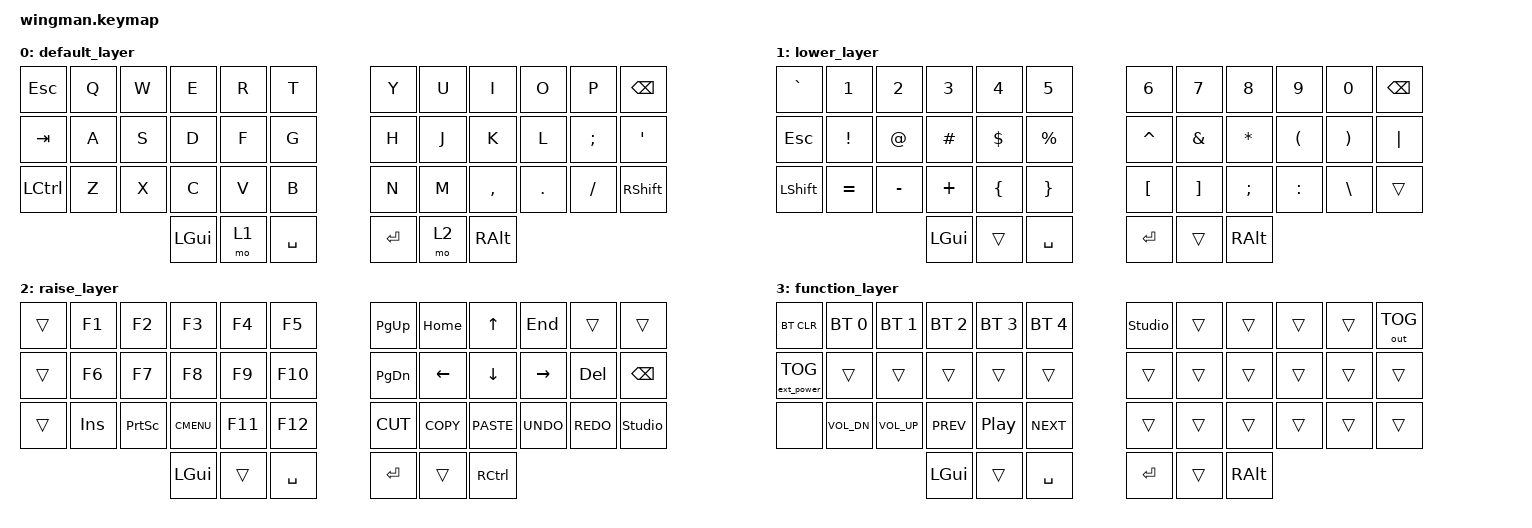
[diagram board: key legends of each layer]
/*
 * Copyright (c) 2020 The ZMK Contributors
 *
 * SPDX-License-Identifier: MIT
 */

#include <behaviors.dtsi>
#include <dt-bindings/zmk/keys.h>
#include <dt-bindings/zmk/bt.h>	
#include <dt-bindings/zmk/outputs.h>
#include <dt-bindings/zmk/ext_power.h>

#define BASE 0
#define LOWER 1
#define RAISE 2
#define ADJUST 3

/ {
        conditional_layers {
            compatible = "zmk,conditional-layers";
            adjust_layer {
                if-layers = <LOWER RAISE>;
                then-layer = <ADJUST>;
            };
        };

        keymap {
                compatible = "zmk,keymap";
	
                default_layer {
                            // -----------------------------------------------------------------------------------------
                            // | ESC  |  Q  |  W  |  E  |  R  |  T  |               |  Y  |  U  |  I  |  O  |  P  | BKSP |
                            // | TAB  |  A  |  S  |  D  |  F  |  G  |               |  H  |  J  |  K  |  L  |  ;  |  '   |
                            // | CTRL |  Z  |  X  |  C  |  V  |  B  |               |  N  |  M  |  ,  |  .  |  /  | ESC  |
                            //                          | GUI | LWR | SPC |   | ENT | RSE | ALT |
                        bindings = <
                            &kp ESC   &kp Q &kp W &kp E     &kp R &kp T       &kp Y   &kp U &kp I     &kp O   &kp P    &kp BSPC
                            &kp TAB   &kp A &kp S &kp D     &kp F &kp G       &kp H   &kp J &kp K     &kp L   &kp SEMI &kp SQT
                            &kp LCTRL &kp Z &kp X &kp C     &kp V &kp B       &kp N   &kp M &kp COMMA &kp DOT &kp FSLH &kp RSHIFT
                                                  &kp LGUI  &mo 1 &kp SPACE   &kp RET &mo 2 &kp RALT
                        >;
                };

                lower_layer{
                        // -----------------------------------------------------------------------------------------
                        // |  `   |  1  |  2  |  3  |  4  |  5  |           |  6  |  7  |  8  |  9  |  0  | BKSP |
                        // | TAB  |  !  |  @  |  #  |  $  |  %  |           |  ^  |  &  |  *  |  (  |  )  |   |  |
                        // | CTRL |  =  |  -  |  +  |  {  |  }  |           |  [  |  ]  |  ;  |  :  |  \  |      |
                        //                    |     |     |     |     |     |     |     |
                        bindings = <
                            &kp GRAVE &kp N1    &kp N2    &kp N3   &kp N4   &kp N5                            &kp N6    &kp N7   &kp N8    &kp N9    &kp N0   &kp BSPC
                            &kp ESC   &kp EXCL  &kp AT    &kp HASH &kp DLLR &kp PRCNT                         &kp CARET &kp AMPS &kp ASTRK &kp LPAR  &kp RPAR &kp PIPE
                            &kp LSHFT &kp EQUAL &kp MINUS &kp PLUS &kp LBRC &kp RBRC                          &kp LBKT  &kp RBKT &kp SEMI  &kp COLON &kp BSLH &trans
                                                                   &kp LGUI &trans    &kp SPACE       &kp RET &trans    &kp RALT
                        >;

                };

                raise_layer {
                            // ---------------------------------------------------------------------------------------------------------------------------
                            // |      |   F1   |   F2   |   F3  |   F4    |   F5    |                   |  PGUP  |  HOM  |   ↑   |  END  |       |       |
                            // |      |   F6   |   F7   |  F8   |   F9    |   F10   |                   |  PGDN  |   ←   |   ↓   |   →   |  DEL  | BCSP  |
                            // |      |  INS   |  PSCR  |  GUI  |   F11   |   F12   |                   |   CUT  |  COPY | PASTE |  UNDO |  REDO |       |               
                            //                                  |         |         |       |   |       |   RSE  |  CTRL |
                            //
                        bindings = <
                            &trans     &kp F1     &kp F2    &kp F3      &kp F4   &kp F5                            &kp PG_UP &kp HOME   &kp UP      &kp END    &trans     &trans
                            &trans     &kp F6     &kp F7    &kp F8      &kp F9   &kp F10                           &kp PG_DN &kp LEFT   &kp DOWN    &kp RIGHT  &kp DEL    &kp BSPC    
                            &trans     &kp INS    &kp PSCRN &kp K_CMENU &kp F11  &kp F12                           &kp K_CUT &kp K_COPY &kp K_PASTE &kp K_UNDO &kp K_REDO &studio_unlock                     
                                                                        &kp LGUI &trans  &kp SPACE         &kp RET &trans    &kp RCTRL
                        >;
                };

                function_layer {
                        // -----------------------------------------------------------------------------------------
                        // | BTCLR  | BT1 | BT2 | BT3 | BT4 | BT5 |   | ZMK |     |     |     |     |      |
                        // | EXTPWR |     |     |     |     |     |   |     |     |     |     |     |      |
                        // |        |  V- |  V+ | Prev| Pau | Next|   |     |     |     |     |     |      |
                        //                      | GUI |     | SPC |   | ENT |     | ALT |
                        bindings = <
                            &bt BT_CLR        &bt BT_SEL 0 &bt BT_SEL 1 &bt BT_SEL 2 &bt BT_SEL 3 &bt BT_SEL 4                            &studio_unlock &trans &trans &trans &trans &out OUT_TOG
                            &ext_power EP_TOG &trans       &trans       &trans       &trans       &trans                                  &trans &trans &trans &trans &trans &trans
                            &none             &kp C_VOL_DN &kp C_VOL_UP &kp C_PREV   &kp C_PP     &kp C_NEXT                              &trans &trans &trans &trans &trans &trans
                                                                                     &kp LGUI     &trans       &kp SPACE         &kp RET  &trans   &kp RALT
                        >;
                };

                additional_layer{
                    status="reserved";
                };

                additional_layer2{
                    status="reserved";
                };
        };
};
